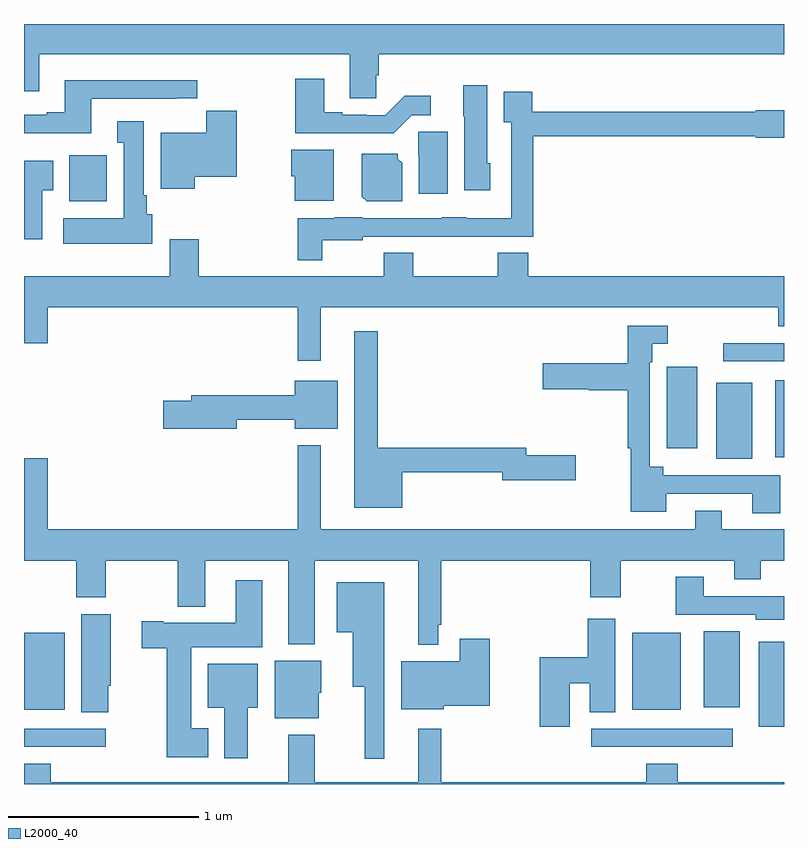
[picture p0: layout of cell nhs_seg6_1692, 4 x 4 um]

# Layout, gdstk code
import gdstk
lib = gdstk.Library(unit=1e-6, precision=1e-09)
def R(c, l, rs):  # rectangles x0, y0, x1, y1
    for r in rs: c.add(gdstk.rectangle(r[:2], r[2:], *l))
def P(c, l, *ps):  # polygons
    for p in ps: c.add(gdstk.Polygon(p, *l))
L2000_40 = (2000, 40)

nhs_seg6_1692 = lib.new_cell('nhs_seg6_1692')
R(nhs_seg6_1692, L2000_40, [(213,939.696,213.43,939.792), (215.985,939.696,216.73,939.792), (216.866,939.801,217,940.249), (213,939.89,213.214,940.297), (216.2,939.89,216.457,940.297), (216.578,939.905,216.766,940.303), (216.644,941.213,216.832,941.611), (216.953,941.219,217,941.626), (216.383,941.268,216.544,941.695), (216.681,941.724,217,941.82), (213.239,942.566,213.436,942.808)])
P(nhs_seg6_1692, L2000_40, [(214.854,943.23),(214.868,943.23),(214.868,943.34),(217,943.34),(217,943.5),(213,943.5),(213,943.146),(213.079,943.146),(213.079,943.34),(214.715,943.34),(214.715,943.108),(214.854,943.108)],
  [(215.04,943.02),(215.14,943.02),(215.14,943.123),(215.005,943.123),(214.902,943.02),(214.802,943.02),(214.802,943.023),(214.675,943.023),(214.675,943.036),(214.579,943.036),(214.579,943.213),(214.427,943.213),(214.427,942.926),(214.946,942.926)],
  [(213.355,943.107),(213.803,943.107),(213.803,943.109),(213.912,943.109),(213.912,943.204),(213.215,943.204),(213.215,943.036),(213.119,943.036),(213.119,943.023),(213,943.023),(213,942.926),(213.355,942.926)],
  [(215.455,942.768),(215.437,942.768),(215.437,943.177),(215.312,943.177),(215.312,943.014),(215.318,943.014),(215.318,942.624),(215.455,942.624)],
  [(214.57,942.362),(214.782,942.362),(214.782,942.381),(215.199,942.381),(215.199,942.38),(215.431,942.38),(215.431,942.381),(215.681,942.381),(215.681,942.91),(216.852,942.91),(216.852,942.902),(217,942.902),(217,943.047),(216.852,943.047),(216.852,943.039),(215.674,943.039),(215.674,943.144),(215.525,943.144),(215.525,942.983),(215.565,942.983),(215.565,942.478),(215.331,942.478),(215.331,942.484),(215.199,942.484),(215.199,942.477),(214.782,942.477),(214.782,942.484),(214.632,942.484),(214.632,942.478),(214.441,942.478),(214.441,942.257),(214.57,942.257)],
  [(213.898,942.695),(214.12,942.695),(214.12,943.044),(213.959,943.044),(213.959,942.928),(213.719,942.928),(213.719,942.632),(213.898,942.632)],
  [(213.676,942.498),(213.646,942.498),(213.646,942.598),(213.631,942.598),(213.631,942.988),(213.491,942.988),(213.491,942.875),(213.524,942.875),(213.524,942.478),(213.207,942.478),(213.207,942.344),(213.676,942.344)],
  [(215.23,942.933),(215.074,942.933),(215.074,942.81),(215.078,942.81),(215.078,942.606),(215.23,942.606)],
  [(214.63,942.838),(214.406,942.838),(214.406,942.699),(214.424,942.699),(214.424,942.569),(214.63,942.569)],
  [(214.99,942.77),(214.968,942.792),(214.968,942.817),(214.778,942.817),(214.778,942.592),(214.804,942.566),(214.99,942.566)],
  [(213.097,942.625),(213.154,942.625),(213.154,942.781),(213,942.781),(213,942.366),(213.097,942.366)],
  [(216.971,941.909),(217,941.909),(217,942.172),(215.654,942.172),(215.654,942.296),(215.494,942.296),(215.494,942.172),(215.049,942.172),(215.049,942.296),(214.894,942.296),(214.894,942.172),(213.92,942.172),(213.92,942.367),(213.767,942.367),(213.767,942.172),(213,942.172),(213,941.82),(213.124,941.82),(213.124,942.008),(214.44,942.008),(214.44,941.727),(214.561,941.727),(214.561,942.008),(216.971,942.008)],
  [(216.981,941.124),(216.364,941.124),(216.364,941.17),(216.294,941.17),(216.294,941.72),(216.306,941.72),(216.306,941.817),(216.388,941.817),(216.388,941.913),(216.178,941.913),(216.178,941.715),(215.73,941.715),(215.73,941.578),(215.972,941.578),(215.972,941.573),(216.178,941.573),(216.178,941.266),(216.193,941.266),(216.193,940.934),(216.379,940.934),(216.379,941.028),(216.833,941.028),(216.833,940.926),(216.981,940.926)],
  [(214.99,941.142),(215.516,941.142),(215.516,941.099),(215.905,941.099),(215.905,941.229),(215.644,941.229),(215.644,941.27),(214.861,941.27),(214.861,941.884),(214.739,941.884),(214.739,940.955),(214.99,940.955)],
  [(214.12,941.416),(214.424,941.416),(214.424,941.369),(214.651,941.369),(214.651,941.623),(214.424,941.623),(214.424,941.545),(213.881,941.545),(213.881,941.516),(213.732,941.516),(213.732,941.369),(214.12,941.369)],
  [(215.179,940.339),(215.197,940.339),(215.197,940.676),(215.981,940.676),(215.981,940.482),(216.141,940.482),(216.141,940.676),(216.737,940.676),(216.737,940.577),(216.877,940.577),(216.877,940.676),(217,940.676),(217,940.84),(216.673,940.84),(216.673,940.939),(216.533,940.939),(216.533,940.84),(214.561,940.84),(214.561,941.284),(214.44,941.284),(214.44,940.84),(213.124,940.84),(213.124,941.215),(213,941.215),(213,940.676),(213.274,940.676),(213.274,940.482),(213.429,940.482),(213.429,940.676),(213.808,940.676),(213.808,940.433),(213.955,940.433),(213.955,940.676),(214.391,940.676),(214.391,940.235),(214.531,940.235),(214.531,940.676),(215.075,940.676),(215.075,940.232),(215.179,940.232)],
  [(217,940.488),(216.577,940.488),(216.577,940.591),(216.43,940.591),(216.43,940.392),(216.852,940.392),(216.852,940.364),(217,940.364)],
  [(213.97,939.793),(213.88,939.793),(213.88,940.22),(214.255,940.22),(214.255,940.573),(214.115,940.573),(214.115,940.348),(213.733,940.348),(213.733,940.356),(213.621,940.356),(213.621,940.214),(213.751,940.214),(213.751,939.641),(213.97,939.641)],
  [(214.897,940.561),(214.646,940.561),(214.646,940.298),(214.73,940.298),(214.73,940.013),(214.793,940.013),(214.793,939.633),(214.897,939.633)],
  [(213.444,940.017),(213.457,940.017),(213.457,940.393),(213.302,940.393),(213.302,939.877),(213.444,939.877)],
  [(215.872,940.031),(215.978,940.031),(215.978,939.877),(216.112,939.877),(216.112,940.369),(215.966,940.369),(215.966,940.166),(215.714,940.166),(215.714,939.801),(215.872,939.801)],
  [(215.208,939.911),(215.452,939.911),(215.452,940.264),(215.294,940.264),(215.294,940.147),(214.985,940.147),(214.985,939.893),(215.208,939.893)],
  [(214.552,939.981),(214.564,939.981),(214.564,940.15),(214.319,940.15),(214.319,939.845),(214.552,939.845)],
  [(214.177,939.902),(214.231,939.902),(214.231,940.132),(213.968,940.132),(213.968,939.902),(214.055,939.902),(214.055,939.636),(214.177,939.636)],
  [(217,939.508),(216.44,939.508),(216.44,939.607),(216.275,939.607),(216.275,939.508),(215.197,939.508),(215.197,939.79),(215.075,939.79),(215.075,939.508),(214.531,939.508),(214.531,939.76),(214.391,939.76),(214.391,939.508),(213.14,939.508),(213.14,939.607),(213,939.607),(213,939.5),(217,939.5)])

lib.write_gds('nhs_seg6_1692.gds')
